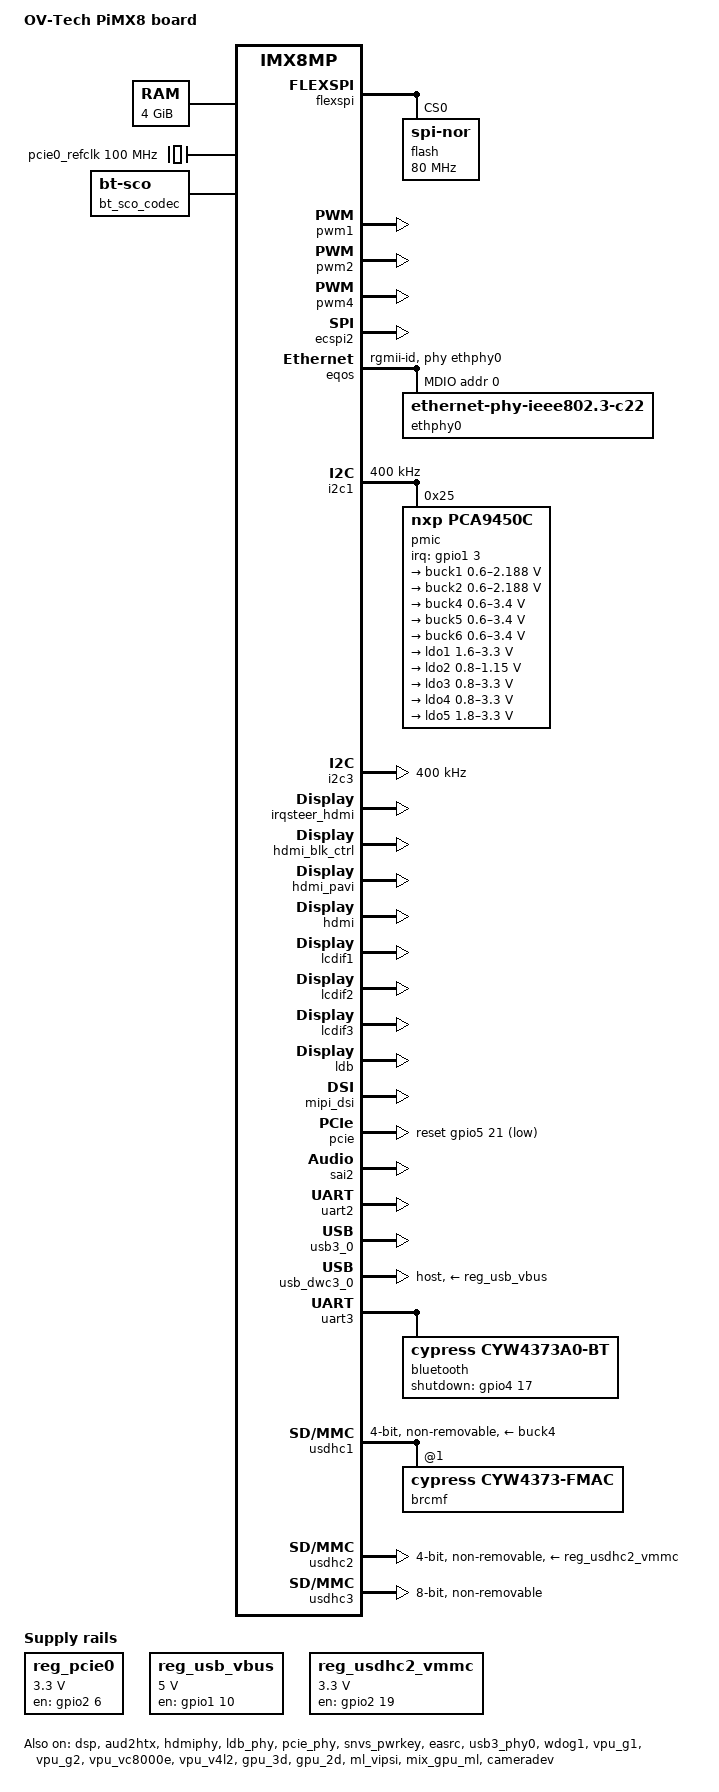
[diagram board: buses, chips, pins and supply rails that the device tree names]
// SPDX-License-Identifier: (GPL-2.0+ OR MIT)
/*
 * Copyright 2019 NXP
 */

/dts-v1/;

#include <dt-bindings/phy/phy-imx8-pcie.h>
#include <dt-bindings/usb/pd.h>
#include "imx8mp.dtsi"

/ {
	model = "OV-Tech PiMX8 board";
	compatible = "ovt,pimx", "fsl,imx8mp";

	chosen {
		stdout-path = &uart2;
	};

	memory@40000000 {
		device_type = "memory"; 
		reg = <0x0 0x40000000 0x1 0x00000000>;
	};

	pcie0_refclk: pcie0-refclk {
		compatible = "fixed-clock";
		#clock-cells = <0>;
		clock-frequency = <100000000>;
	};

	reg_pcie0: regulator-pcie {
		compatible = "regulator-fixed";
		pinctrl-names = "default";
		pinctrl-0 = <&pinctrl_pcie0_reg>;
		regulator-name = "MPCIE_3V3";
		regulator-min-microvolt = <3300000>;
		regulator-max-microvolt = <3300000>;
		gpio = <&gpio2 6 GPIO_ACTIVE_HIGH>;
		enable-active-high;
		regulator-always-on;
	};

	reg_usb_vbus: regulator-vbus {
		compatible = "regulator-fixed";
		pinctrl-names = "default";
		pinctrl-0 = <&pinctrl_usb1_vbus>;
		regulator-name = "USB_VBUS";
		regulator-min-microvolt = <5000000>;
		regulator-max-microvolt = <5000000>;
		gpio = <&gpio1 10 GPIO_ACTIVE_HIGH>;
		enable-active-high;
		regulator-always-on;
	};

	reg_usdhc2_vmmc: regulator-usdhc2 {
		compatible = "regulator-fixed";
		pinctrl-names = "default";
		pinctrl-0 = <&pinctrl_reg_usdhc2_vmmc>;
		regulator-name = "VSD_3V3";
		regulator-min-microvolt = <3300000>;
		regulator-max-microvolt = <3300000>;
		gpio = <&gpio2 19 GPIO_ACTIVE_HIGH>;
		enable-active-high;
	};

	bt_sco_codec: bt_sco_codec {
		#sound-dai-cells = <1>;
		compatible = "linux,bt-sco";
	};

	sound-bt-sco {
		compatible = "simple-audio-card";
		simple-audio-card,name = "bt-sco-audio";
		simple-audio-card,format = "dsp_a";
		simple-audio-card,bitclock-inversion;
		simple-audio-card,frame-master = <&btcpu>;
		simple-audio-card,bitclock-master = <&btcpu>;

		btcpu: simple-audio-card,cpu {
			sound-dai = <&sai2>;
			dai-tdm-slot-num = <2>;
			dai-tdm-slot-width = <16>;
		};

		simple-audio-card,codec {
			sound-dai = <&bt_sco_codec 1>;
		};
	};

	sound-hdmi {
		compatible = "fsl,imx-audio-hdmi";
		model = "audio-hdmi";
		audio-cpu = <&aud2htx>;
		hdmi-out;
		constraint-rate = <44100>,
				<88200>,
				<176400>,
				<32000>,
				<48000>,
				<96000>,
				<192000>;
		status = "okay";
	};

};

&flexspi {
	pinctrl-names = "default";
	pinctrl-0 = <&pinctrl_flexspi0>;
	status = "okay";

	flash@0 {
		compatible = "jedec,spi-nor";
		reg = <0>;
		spi-max-frequency = <80000000>;
		spi-tx-bus-width = <1>;
		spi-rx-bus-width = <4>;
		size = <0x800000>; // 8MB
	};
};

&A53_0 {
	cpu-supply = <&buck2>;
};

&A53_1 {
	cpu-supply = <&buck2>;
};

&A53_2 {
	cpu-supply = <&buck2>;
};

&A53_3 {
	cpu-supply = <&buck2>;
};

&dsp {
	status = "okay";
};

&pwm1 {
	pinctrl-names = "default";
	pinctrl-0 = <&pinctrl_pwm1>;
	status = "okay";
};

&pwm2 {
	pinctrl-names = "default";
	pinctrl-0 = <&pinctrl_pwm2>;
	status = "okay";
};

&pwm4 {
	pinctrl-names = "default";
	pinctrl-0 = <&pinctrl_pwm4>;
	status = "okay";
};

&aud2htx {
	status = "okay";
};

&ecspi2 {
	#address-cells = <1>;
	#size-cells = <0>;
	fsl,spi-num-chipselects = <1>;
	pinctrl-names = "default";
	pinctrl-0 = <&pinctrl_ecspi2 &pinctrl_ecspi2_cs>;
	cs-gpios = <&gpio5 13 GPIO_ACTIVE_LOW>;
	status = "okay";
};

&eqos {
	pinctrl-names = "default";
	pinctrl-0 = <&pinctrl_eqos>;
	phy-mode = "rgmii-id";
	phy-handle = <&ethphy0>;
	snps,force_thresh_dma_mode;
	snps,mtl-tx-config = <&mtl_tx_setup>;
	snps,mtl-rx-config = <&mtl_rx_setup>;
	status = "okay";

	mdio {
		compatible = "snps,dwmac-mdio";
		#address-cells = <1>;
		#size-cells = <0>;

		ethphy0: ethernet-phy@0 {
			compatible = "ethernet-phy-ieee802.3-c22";
			reg = <0>;
		};
	};

	mtl_tx_setup: tx-queues-config {
		snps,tx-queues-to-use = <5>;
		snps,tx-sched-sp;

		queue0 {
			snps,dcb-algorithm;
			snps,priority = <0x1>;
		};

		queue1 {
			snps,dcb-algorithm;
			snps,priority = <0x2>;
		};

		queue2 {
			snps,dcb-algorithm;
			snps,priority = <0x4>;
		};

		queue3 {
			snps,dcb-algorithm;
			snps,priority = <0x8>;
		};

		queue4 {
			snps,dcb-algorithm;
			snps,priority = <0xf0>;
		};
	};

	mtl_rx_setup: rx-queues-config {
		snps,rx-queues-to-use = <5>;
		snps,rx-sched-sp;

		queue0 {
			snps,dcb-algorithm;
			snps,priority = <0x1>;
			snps,map-to-dma-channel = <0>;
		};

		queue1 {
			snps,dcb-algorithm;
			snps,priority = <0x2>;
			snps,map-to-dma-channel = <1>;
		};

		queue2 {
			snps,dcb-algorithm;
			snps,priority = <0x4>;
			snps,map-to-dma-channel = <2>;
		};

		queue3 {
			snps,dcb-algorithm;
			snps,priority = <0x8>;
			snps,map-to-dma-channel = <3>;
		};

		queue4 {
			snps,dcb-algorithm;
			snps,priority = <0xf0>;
			snps,map-to-dma-channel = <4>;
		};
	};
};

&i2c1 {
	clock-frequency = <400000>;
	pinctrl-names = "default";
	pinctrl-0 = <&pinctrl_i2c1>;
	status = "okay";

	pmic@25 {
		compatible = "nxp,pca9450c";
		reg = <0x25>;
		pinctrl-names = "default";
		pinctrl-0 = <&pinctrl_pmic>;
		interrupt-parent = <&gpio1>;
		interrupts = <3 IRQ_TYPE_LEVEL_LOW>;

		regulators {
			buck1: BUCK1 {
				regulator-name = "BUCK1";
				regulator-min-microvolt = <600000>;
				regulator-max-microvolt = <2187500>;
				regulator-boot-on;
				regulator-always-on;
				regulator-ramp-delay = <3125>;
			};

			buck2: BUCK2 {
				regulator-name = "BUCK2";
				regulator-min-microvolt = <600000>;
				regulator-max-microvolt = <2187500>;
				regulator-boot-on;
				regulator-always-on;
				regulator-ramp-delay = <3125>;
				nxp,dvs-run-voltage = <950000>;
				nxp,dvs-standby-voltage = <850000>;
			};

			buck4: BUCK4{
				regulator-name = "BUCK4";
				regulator-min-microvolt = <600000>;
				regulator-max-microvolt = <3400000>;
				regulator-boot-on;
				regulator-always-on;
			};

			buck5: BUCK5{
				regulator-name = "BUCK5";
				regulator-min-microvolt = <600000>;
				regulator-max-microvolt = <3400000>;
				regulator-boot-on;
				regulator-always-on;
			};

			buck6: BUCK6 {
				regulator-name = "BUCK6";
				regulator-min-microvolt = <600000>;
				regulator-max-microvolt = <3400000>;
				regulator-boot-on;
				regulator-always-on;
			};

			ldo1: LDO1 {
				regulator-name = "LDO1";
				regulator-min-microvolt = <1600000>;
				regulator-max-microvolt = <3300000>;
				regulator-boot-on;
				regulator-always-on;
			};

			ldo2: LDO2 {
				regulator-name = "LDO2";
				regulator-min-microvolt = <800000>;
				regulator-max-microvolt = <1150000>;
				regulator-boot-on;
				regulator-always-on;
			};

			ldo3: LDO3 {
				regulator-name = "LDO3";
				regulator-min-microvolt = <800000>;
				regulator-max-microvolt = <3300000>;
				regulator-boot-on;
				regulator-always-on;
			};

			ldo4: LDO4 {
				regulator-name = "LDO4";
				regulator-min-microvolt = <800000>;
				regulator-max-microvolt = <3300000>;
				regulator-boot-on;
				regulator-always-on;
			};

			ldo5: LDO5 {
				regulator-name = "LDO5";
				regulator-min-microvolt = <1800000>;
				regulator-max-microvolt = <3300000>;
				regulator-boot-on;
				regulator-always-on;
			};
		};
	};
};

&i2c3 {
	clock-frequency = <400000>;
	pinctrl-names = "default";
	pinctrl-0 = <&pinctrl_i2c3>;
	status = "okay";
};

&irqsteer_hdmi {
	status = "okay";
};

&hdmi_blk_ctrl {
	status = "okay";
};

&hdmi_pavi {
	status = "okay";
};

&hdmi {
	status = "okay";
	hpd-inverted;
};

&hdmiphy {
	status = "okay";
};

&lcdif1 {
	status = "okay";
};

&lcdif2 {
	status = "okay";
};

&lcdif3 {
	status = "okay";

	thres-low  = <1 2>;             /* (FIFO * 1 / 2) */
	thres-high = <3 4>;             /* (FIFO * 3 / 4) */
};

&ldb {
	status = "okay";
};

&ldb_phy {
	status = "okay";
};

&mipi_dsi {
	status = "okay";
};

&pcie_phy {
    fsl,refclk-pad-mode = <IMX8_PCIE_REFCLK_PAD_OUTPUT>;
    clocks = <&pcie0_refclk>;
    clock-names = "ref";
	fsl,clkreq-unsupported;
    status = "okay";
};

&pcie {
    pinctrl-names = "default";
    pinctrl-0 = <&pinctrl_pcie0>;
    reset-gpio = <&gpio5 21 GPIO_ACTIVE_LOW>;
	vpcie-supply = <&reg_pcie0>;
    status = "okay";
};

&pwm1 {
	pinctrl-names = "default";
	pinctrl-0 = <&pinctrl_pwm1>;
	status = "okay";
};

&pwm2 {
	pinctrl-names = "default";
	pinctrl-0 = <&pinctrl_pwm2>;
	status = "okay";
};

&pwm4 {
	pinctrl-names = "default";
	pinctrl-0 = <&pinctrl_pwm4>;
	status = "okay";
};

&sai2 {
	#sound-dai-cells = <0>;
	pinctrl-names = "default";
	pinctrl-0 = <&pinctrl_sai2>;
	assigned-clocks = <&clk IMX8MP_CLK_SAI2>;
	assigned-clock-parents = <&clk IMX8MP_AUDIO_PLL1_OUT>;
	assigned-clock-rates = <12288000>;
	fsl,sai-mclk-direction-output;
	status = "okay";
};

&snvs_pwrkey {
	status = "okay";
};

&easrc {
	fsl,asrc-rate  = <48000>;
	status = "okay";
};

&sdma2 {
	status = "okay";
};

&uart2 {
	/* console */
	pinctrl-names = "default";
	pinctrl-0 = <&pinctrl_uart2>;
	status = "okay";
};

&usb3_phy0 {	
	status = "okay";
};

&usb3_0 {
	status = "okay";
};

&usb_dwc3_0 {
	vbus-supply = <&reg_usb_vbus>;
	dr_mode = "host";
	status = "okay";
};

&uart3 { /* BT */
	pinctrl-names = "default";
	pinctrl-0 = <&pinctrl_uart3>;
	assigned-clocks = <&clk IMX8MP_CLK_UART3>;
	assigned-clock-parents = <&clk IMX8MP_SYS_PLL1_80M>;
	assigned-clock-rates = <80000000>;
	uart-has-rtscts;
	status = "okay";

	bluetooth {
		pinctrl-names = "default";
		pinctrl-0 = <&pinctrl_uart3_bt>;
		compatible = "cypress,cyw4373a0-bt";
		/*
		host-wakeup-gpios = <&gpio1 0 GPIO_ACTIVE_HIGH>;
		device-wakeup-gpios = <&gpio5 17 GPIO_ACTIVE_HIGH>;
		*/
		shutdown-gpios = <&gpio4 17 GPIO_ACTIVE_HIGH>;
		max-speed = <4000000>;
	};
};

/* SDIO WiFi */
&usdhc1 {
	pinctrl-names = "default", "state_100mhz", "state_200mhz";
	pinctrl-0 = <&pinctrl_usdhc1>;
	pinctrl-1 = <&pinctrl_usdhc1_100mhz>;
	pinctrl-2 = <&pinctrl_usdhc1_200mhz>;
	vmmc-supply = <&buck4>;
	bus-width = <4>;
	non-removable;
	cap-power-off-card;
	keep-power-in-suspend;
	status = "okay";

	#address-cells = <1>;
	#size-cells = <0>;

	brcmf: bcrmf@1 {	/* muRata 2AE */
		reg = <1>;
		compatible = "cypress,cyw4373-fmac", "brcm,bcm4329-fmac";
		/*ant_sel = <1>;*/
		/*
		 * The "host-wake" interrupt output is by default not
		 * connected to the SoC, but can be connected on to
		 * SoC pin on the carrier board.
		reset-gpios = <&gpio1 13 GPIO_ACTIVE_LOW>;
		 */
	};
};

&usdhc2 {
	assigned-clocks = <&clk IMX8MP_CLK_USDHC2>;
	assigned-clock-rates = <400000000>;
	pinctrl-names = "default", "state_100mhz", "state_200mhz";
	pinctrl-0 = <&pinctrl_usdhc2>;
	pinctrl-1 = <&pinctrl_usdhc2_100mhz>;
	pinctrl-2 = <&pinctrl_usdhc2_200mhz>;
	vmmc-supply = <&reg_usdhc2_vmmc>;
	bus-width = <4>;
	no-1-8-v;
	non-removable;
	status = "okay";
};

&usdhc3 {
	assigned-clocks = <&clk IMX8MP_CLK_USDHC3>;
	assigned-clock-rates = <400000000>;
	pinctrl-names = "default", "state_100mhz", "state_200mhz";
	pinctrl-0 = <&pinctrl_usdhc3>;
	pinctrl-1 = <&pinctrl_usdhc3_100mhz>;
	pinctrl-2 = <&pinctrl_usdhc3_200mhz>;
	bus-width = <8>;
	non-removable;
	status = "okay";
};

&wdog1 {
	pinctrl-names = "default";
	pinctrl-0 = <&pinctrl_wdog>;
	fsl,ext-reset-output;
	status = "okay";
};

&iomuxc {
	pinctrl-names = "default";
	pinctrl-0 = <&pinctrl_hog>;

	pinctrl_hog: hoggrp {
		fsl,pins = <
			MX8MP_IOMUXC_HDMI_DDC_SCL__HDMIMIX_HDMI_SCL	0x400001c2
			MX8MP_IOMUXC_HDMI_DDC_SDA__HDMIMIX_HDMI_SDA	0x400001c2
			MX8MP_IOMUXC_HDMI_HPD__HDMIMIX_HDMI_HPD		0x40000010
			MX8MP_IOMUXC_HDMI_CEC__HDMIMIX_HDMI_CEC		0x40000010
			/*
			 * M.2 pin20 & pin21 need to be set to 11 for 88W9098 to select the
			 * default Reference Clock Frequency
			 */
			/*MX8MP_IOMUXC_SD1_DATA7__GPIO2_IO09		0x1c4*/
		>;
	};

	pinctrl_pwm1: pwm1grp {
		fsl,pins = <
			MX8MP_IOMUXC_GPIO1_IO01__PWM1_OUT	0x116
		>;
	};

	pinctrl_pwm2: pwm2grp {
		fsl,pins = <
			MX8MP_IOMUXC_GPIO1_IO11__PWM2_OUT	0x116
		>;
	};

	pinctrl_pwm4: pwm4grp {
		fsl,pins = <
			MX8MP_IOMUXC_SAI5_RXFS__PWM4_OUT	0x116
		>;
	};

	pinctrl_ecspi2: ecspi2grp {
		fsl,pins = <
			MX8MP_IOMUXC_ECSPI2_SCLK__ECSPI2_SCLK		0x82
			MX8MP_IOMUXC_ECSPI2_MOSI__ECSPI2_MOSI		0x82
			MX8MP_IOMUXC_ECSPI2_MISO__ECSPI2_MISO		0x82
		>;
	};

	pinctrl_ecspi2_cs: ecspi2cs {
		fsl,pins = <
			MX8MP_IOMUXC_ECSPI2_SS0__GPIO5_IO13		0x40000
		>;
	};

	pinctrl_eqos: eqosgrp {
		fsl,pins = <
			MX8MP_IOMUXC_ENET_MDC__ENET_QOS_MDC				0x2
			MX8MP_IOMUXC_ENET_MDIO__ENET_QOS_MDIO				0x2
			MX8MP_IOMUXC_ENET_RD0__ENET_QOS_RGMII_RD0			0x90
			MX8MP_IOMUXC_ENET_RD1__ENET_QOS_RGMII_RD1			0x90
			MX8MP_IOMUXC_ENET_RD2__ENET_QOS_RGMII_RD2			0x90
			MX8MP_IOMUXC_ENET_RD3__ENET_QOS_RGMII_RD3			0x90
			MX8MP_IOMUXC_ENET_RXC__CCM_ENET_QOS_CLOCK_GENERATE_RX_CLK	0x90
			MX8MP_IOMUXC_ENET_RX_CTL__ENET_QOS_RGMII_RX_CTL			0x90
			MX8MP_IOMUXC_ENET_TD0__ENET_QOS_RGMII_TD0			0x16
			MX8MP_IOMUXC_ENET_TD1__ENET_QOS_RGMII_TD1			0x16
			MX8MP_IOMUXC_ENET_TD2__ENET_QOS_RGMII_TD2			0x16
			MX8MP_IOMUXC_ENET_TD3__ENET_QOS_RGMII_TD3			0x16
			MX8MP_IOMUXC_ENET_TX_CTL__ENET_QOS_RGMII_TX_CTL			0x16
			MX8MP_IOMUXC_ENET_TXC__CCM_ENET_QOS_CLOCK_GENERATE_TX_CLK	0x16
		>;
	};

	pinctrl_flexspi0: flexspi0grp {
		fsl,pins = <
			MX8MP_IOMUXC_NAND_ALE__FLEXSPI_A_SCLK           0x1c2
			MX8MP_IOMUXC_NAND_CE0_B__FLEXSPI_A_SS0_B        0x82
			MX8MP_IOMUXC_NAND_DATA00__FLEXSPI_A_DATA00      0x82
			MX8MP_IOMUXC_NAND_DATA01__FLEXSPI_A_DATA01      0x82
			MX8MP_IOMUXC_NAND_DATA02__FLEXSPI_A_DATA02      0x82
			MX8MP_IOMUXC_NAND_DATA03__FLEXSPI_A_DATA03      0x82
		>;
	};

	pinctrl_gpio_led: gpioledgrp {
		fsl,pins = <
			MX8MP_IOMUXC_NAND_READY_B__GPIO3_IO16	0x140
		>;
	};

	pinctrl_i2c1: i2c1grp {
		fsl,pins = <
			MX8MP_IOMUXC_I2C1_SCL__I2C1_SCL		0x400001c2
			MX8MP_IOMUXC_I2C1_SDA__I2C1_SDA		0x400001c2
		>;
	};

	pinctrl_i2c3: i2c3grp {
		fsl,pins = <
			MX8MP_IOMUXC_I2C3_SCL__I2C3_SCL		0x400001c2
			MX8MP_IOMUXC_I2C3_SDA__I2C3_SDA		0x400001c2
		>;
	};

	pinctrl_i2c5: i2c5grp {
		fsl,pins = <
			MX8MP_IOMUXC_SPDIF_RX__I2C5_SDA         0x400001c2
			MX8MP_IOMUXC_SPDIF_TX__I2C5_SCL         0x400001c2
		>;
	};

	pinctrl_pcie0: pcie0grp {
		fsl,pins = <
			MX8MP_IOMUXC_I2C4_SCL__PCIE_CLKREQ_B	0x00000106
			MX8MP_IOMUXC_I2C4_SDA__GPIO5_IO21	    0x00000106
		>;
	};

		pinctrl_pcie0_reg: pcie0reggrp {
		fsl,pins = <
			MX8MP_IOMUXC_SD1_DATA4__GPIO2_IO06	0x40
		>;
	};

	pinctrl_pmic: pmicgrp {
		fsl,pins = <
			MX8MP_IOMUXC_GPIO1_IO03__GPIO1_IO03	0x000001c0
		>;
	};

	pinctrl_pwm1: pwm1grp {
		fsl,pins = <
			MX8MP_IOMUXC_GPIO1_IO01__PWM1_OUT	0x116
		>;
	};

	pinctrl_pwm2: pwm2grp {
		fsl,pins = <
			MX8MP_IOMUXC_GPIO1_IO11__PWM2_OUT	0x116
		>;
	};

	pinctrl_pwm4: pwm4grp {
		fsl,pins = <
			MX8MP_IOMUXC_SAI5_RXFS__PWM4_OUT	0x116
		>;
	};

	pinctrl_reg_usdhc2_vmmc: regusdhc2vmmcgrp {
		fsl,pins = <
			MX8MP_IOMUXC_SD2_RESET_B__USDHC2_RESET_B	0x40
		>;
	};

	pinctrl_pdm: pdmgrp {
		fsl,pins = <
			MX8MP_IOMUXC_SAI5_RXC__AUDIOMIX_PDM_CLK		0xd6
			MX8MP_IOMUXC_SAI5_RXD0__AUDIOMIX_PDM_BIT_STREAM00	0xd6
			MX8MP_IOMUXC_SAI5_RXD1__AUDIOMIX_PDM_BIT_STREAM01	0xd6
			MX8MP_IOMUXC_SAI5_RXD2__AUDIOMIX_PDM_BIT_STREAM02	0xd6
			MX8MP_IOMUXC_SAI5_RXD3__AUDIOMIX_PDM_BIT_STREAM03	0xd6
		>;
	};

	pinctrl_sai2: sai2grp {
		fsl,pins = <
			MX8MP_IOMUXC_SAI2_MCLK__GPIO4_IO27	0x00000106
			MX8MP_IOMUXC_SAI2_RXD0__UART1_DTE_CTS	0x00000106
			MX8MP_IOMUXC_SAI2_RXFS__GPIO4_IO21	0x00000106
			MX8MP_IOMUXC_SAI2_TXC__GPIO4_IO25	0x00000106
			MX8MP_IOMUXC_SAI2_TXD0__GPIO4_IO26	0x00000106
			MX8MP_IOMUXC_SAI2_TXFS__UART1_DTE_RTS	0x00000106
		>;
	};

	pinctrl_typec: typec1grp {
		fsl,pins = <
			MX8MP_IOMUXC_SAI1_TXD7__GPIO4_IO19	0x1c4
		>;
	};

	pinctrl_typec_mux: typec1muxgrp {
		fsl,pins = <
			MX8MP_IOMUXC_SAI1_MCLK__GPIO4_IO20	0x16
		>;
	};

	pinctrl_uart2: uart2grp {
		fsl,pins = <
			MX8MP_IOMUXC_SAI3_TXC__UART2_DCE_TX  	0x140
			MX8MP_IOMUXC_SAI3_TXFS__UART2_DCE_RX	0x140
		>;
	};

	pinctrl_usb1_vbus: usb1grp {
		fsl,pins = <
			MX8MP_IOMUXC_GPIO1_IO10__USB1_ID		0x10
		>;
	};

	pinctrl_uart3: uart3grp {
		fsl,pins = <
			MX8MP_IOMUXC_SD1_DATA6__UART3_DCE_TX       0x00000106
			MX8MP_IOMUXC_SD1_DATA7__UART3_DCE_RX       0x00000106
			MX8MP_IOMUXC_SD1_STROBE__UART3_DTE_RTS     0x00000106
			MX8MP_IOMUXC_SD1_RESET_B__UART3_DTE_CTS    0x00000106
		>;
	};

	pinctrl_uart3_bt: uart3-bt-grp {
		fsl,pins = <
			MX8MP_IOMUXC_GPIO1_IO00__GPIO1_IO00        0x00000106
			MX8MP_IOMUXC_I2C2_SDA__GPIO5_IO17          0x00000106
			MX8MP_IOMUXC_SAI1_TXD5__GPIO4_IO17         0x00000106
		>;
	};

	pinctrl_usdhc1: usdhc1grp {
		fsl,pins = <
			MX8MP_IOMUXC_SD1_CLK__USDHC1_CLK		0x190
			MX8MP_IOMUXC_SD1_CMD__USDHC1_CMD		0x1d0
			MX8MP_IOMUXC_SD1_DATA0__USDHC1_DATA0		0x1d0
			MX8MP_IOMUXC_SD1_DATA1__USDHC1_DATA1		0x1d0
			MX8MP_IOMUXC_SD1_DATA2__USDHC1_DATA2		0x1d0
			MX8MP_IOMUXC_SD1_DATA3__USDHC1_DATA3		0x1d0
			/* WL_REG_EN */
			MX8MP_IOMUXC_GPIO1_IO13__GPIO1_IO13		0x144
		>;
	};

	pinctrl_usdhc1_100mhz: usdhc1-100mhzgrp {
		fsl,pins = <
			MX8MP_IOMUXC_SD1_CLK__USDHC1_CLK		0x194
			MX8MP_IOMUXC_SD1_CMD__USDHC1_CMD		0x1d4
			MX8MP_IOMUXC_SD1_DATA0__USDHC1_DATA0		0x1d4
			MX8MP_IOMUXC_SD1_DATA1__USDHC1_DATA1		0x1d4
			MX8MP_IOMUXC_SD1_DATA2__USDHC1_DATA2		0x1d4
			MX8MP_IOMUXC_SD1_DATA3__USDHC1_DATA3		0x1d4
			/* WL_REG_EN */
			MX8MP_IOMUXC_GPIO1_IO13__GPIO1_IO13		0x144
		>;
	};

	pinctrl_usdhc1_200mhz: usdhc1-200mhzgrp {
		fsl,pins = <
			MX8MP_IOMUXC_SD1_CLK__USDHC1_CLK		0x196
			MX8MP_IOMUXC_SD1_CMD__USDHC1_CMD		0x1d6
			MX8MP_IOMUXC_SD1_DATA0__USDHC1_DATA0		0x1d6
			MX8MP_IOMUXC_SD1_DATA1__USDHC1_DATA1		0x1d6
			MX8MP_IOMUXC_SD1_DATA2__USDHC1_DATA2		0x1d6
			MX8MP_IOMUXC_SD1_DATA3__USDHC1_DATA3		0x1d6
			/* WL_REG_EN */
			MX8MP_IOMUXC_GPIO1_IO13__GPIO1_IO13		0x144
		>;
	};

	pinctrl_usdhc2: usdhc2grp {
		fsl,pins = <
			MX8MP_IOMUXC_SD2_CLK__USDHC2_CLK	0x190
			MX8MP_IOMUXC_SD2_CMD__USDHC2_CMD	0x1d0
			MX8MP_IOMUXC_SD2_DATA0__USDHC2_DATA0	0x1d0
			MX8MP_IOMUXC_SD2_DATA1__USDHC2_DATA1	0x1d0
			MX8MP_IOMUXC_SD2_DATA2__USDHC2_DATA2	0x1d0
			MX8MP_IOMUXC_SD2_DATA3__USDHC2_DATA3	0x1d0
			MX8MP_IOMUXC_GPIO1_IO04__USDHC2_VSELECT	0xc0
		>;
	};

	pinctrl_usdhc2_100mhz: usdhc2-100mhzgrp {
		fsl,pins = <
			MX8MP_IOMUXC_SD2_CLK__USDHC2_CLK	0x194
			MX8MP_IOMUXC_SD2_CMD__USDHC2_CMD	0x1d4
			MX8MP_IOMUXC_SD2_DATA0__USDHC2_DATA0	0x1d4
			MX8MP_IOMUXC_SD2_DATA1__USDHC2_DATA1	0x1d4
			MX8MP_IOMUXC_SD2_DATA2__USDHC2_DATA2	0x1d4
			MX8MP_IOMUXC_SD2_DATA3__USDHC2_DATA3	0x1d4
			MX8MP_IOMUXC_GPIO1_IO04__USDHC2_VSELECT 0xc0
		>;
	};

	pinctrl_usdhc2_200mhz: usdhc2-200mhzgrp {
		fsl,pins = <
			MX8MP_IOMUXC_SD2_CLK__USDHC2_CLK	0x196
			MX8MP_IOMUXC_SD2_CMD__USDHC2_CMD	0x1d6
			MX8MP_IOMUXC_SD2_DATA0__USDHC2_DATA0	0x1d6
			MX8MP_IOMUXC_SD2_DATA1__USDHC2_DATA1	0x1d6
			MX8MP_IOMUXC_SD2_DATA2__USDHC2_DATA2	0x1d6
			MX8MP_IOMUXC_SD2_DATA3__USDHC2_DATA3	0x1d6
			MX8MP_IOMUXC_GPIO1_IO04__USDHC2_VSELECT 0xc0
		>;
	};

	pinctrl_usdhc3: usdhc3grp {
		fsl,pins = <
			MX8MP_IOMUXC_NAND_WE_B__USDHC3_CLK	0x190
			MX8MP_IOMUXC_NAND_WP_B__USDHC3_CMD	0x1d0
			MX8MP_IOMUXC_NAND_DATA04__USDHC3_DATA0	0x1d0
			MX8MP_IOMUXC_NAND_DATA05__USDHC3_DATA1	0x1d0
			MX8MP_IOMUXC_NAND_DATA06__USDHC3_DATA2	0x1d0
			MX8MP_IOMUXC_NAND_DATA07__USDHC3_DATA3	0x1d0
			MX8MP_IOMUXC_NAND_RE_B__USDHC3_DATA4	0x1d0
			MX8MP_IOMUXC_NAND_CE2_B__USDHC3_DATA5	0x1d0
			MX8MP_IOMUXC_NAND_CE3_B__USDHC3_DATA6	0x1d0
			MX8MP_IOMUXC_NAND_CLE__USDHC3_DATA7	0x1d0
			MX8MP_IOMUXC_NAND_CE1_B__USDHC3_STROBE	0x190
		>;
	};

	pinctrl_usdhc3_100mhz: usdhc3-100mhzgrp {
		fsl,pins = <
			MX8MP_IOMUXC_NAND_WE_B__USDHC3_CLK	0x194
			MX8MP_IOMUXC_NAND_WP_B__USDHC3_CMD	0x1d4
			MX8MP_IOMUXC_NAND_DATA04__USDHC3_DATA0	0x1d4
			MX8MP_IOMUXC_NAND_DATA05__USDHC3_DATA1	0x1d4
			MX8MP_IOMUXC_NAND_DATA06__USDHC3_DATA2	0x1d4
			MX8MP_IOMUXC_NAND_DATA07__USDHC3_DATA3	0x1d4
			MX8MP_IOMUXC_NAND_RE_B__USDHC3_DATA4	0x1d4
			MX8MP_IOMUXC_NAND_CE2_B__USDHC3_DATA5	0x1d4
			MX8MP_IOMUXC_NAND_CE3_B__USDHC3_DATA6	0x1d4
			MX8MP_IOMUXC_NAND_CLE__USDHC3_DATA7	0x1d4
			MX8MP_IOMUXC_NAND_CE1_B__USDHC3_STROBE	0x194
		>;
	};

	pinctrl_usdhc3_200mhz: usdhc3-200mhzgrp {
		fsl,pins = <
			MX8MP_IOMUXC_NAND_WE_B__USDHC3_CLK	0x196
			MX8MP_IOMUXC_NAND_WP_B__USDHC3_CMD	0x1d6
			MX8MP_IOMUXC_NAND_DATA04__USDHC3_DATA0	0x1d6
			MX8MP_IOMUXC_NAND_DATA05__USDHC3_DATA1	0x1d6
			MX8MP_IOMUXC_NAND_DATA06__USDHC3_DATA2	0x1d6
			MX8MP_IOMUXC_NAND_DATA07__USDHC3_DATA3	0x1d6
			MX8MP_IOMUXC_NAND_RE_B__USDHC3_DATA4	0x1d6
			MX8MP_IOMUXC_NAND_CE2_B__USDHC3_DATA5	0x1d6
			MX8MP_IOMUXC_NAND_CE3_B__USDHC3_DATA6	0x1d6
			MX8MP_IOMUXC_NAND_CLE__USDHC3_DATA7	0x1d6
			MX8MP_IOMUXC_NAND_CE1_B__USDHC3_STROBE	0x196
		>;
	};

	pinctrl_wdog: wdoggrp {
		fsl,pins = <
			MX8MP_IOMUXC_GPIO1_IO02__WDOG1_WDOG_B	0x166
		>;
	};
};

&vpu_g1 {
	status = "okay";
};

&vpu_g2 {
	status = "okay";
};

&vpu_vc8000e {
	status = "okay";
};

&vpu_v4l2 {
	status = "okay";
};

&gpu_3d {
	status = "okay";
};

&gpu_2d {
	status = "okay";
};

&ml_vipsi {
	status = "okay";
};

&mix_gpu_ml {
	status = "okay";
};

&cameradev {
	status = "okay";
};
